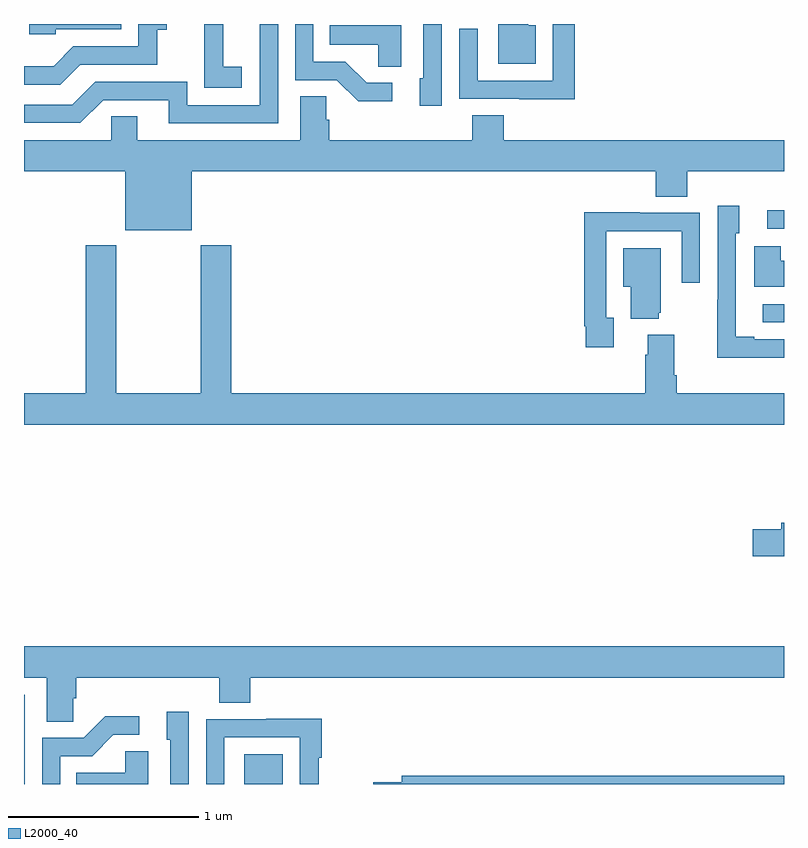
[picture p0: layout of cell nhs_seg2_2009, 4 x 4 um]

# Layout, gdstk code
import gdstk
lib = gdstk.Library(unit=1e-6, precision=1e-09)
def R(c, l, rs):  # rectangles x0, y0, x1, y1
    for r in rs: c.add(gdstk.rectangle(r[:2], r[2:], *l))
def P(c, l, *ps):  # polygons
    for p in ps: c.add(gdstk.Polygon(p, *l))
L2000_40 = (2000, 40)

nhs_seg2_2009 = lib.new_cell('nhs_seg2_2009')
R(nhs_seg2_2009, L2000_40, [(217,589.8,217.005,590.271), (218.159,589.8,218.362,589.957), (220.887,592.23,221,592.326), (220.911,592.722,221,592.82)])
P(nhs_seg2_2009, L2000_40, [(218.938,593.49),(218.803,593.49),(218.692,593.601),(218.523,593.601),(218.523,593.8),(218.427,593.8),(218.427,593.505),(218.646,593.505),(218.759,593.393),(218.938,593.393)],
  [(219.694,593.794),(219.655,593.794),(219.655,593.8),(219.497,593.8),(219.497,593.591),(219.694,593.591)],
  [(219.899,593.8),(219.783,593.8),(219.783,593.502),(219.387,593.502),(219.387,593.776),(219.291,593.776),(219.291,593.406),(219.607,593.406),(219.607,593.405),(219.899,593.405)],
  [(217.297,593.586),(217.701,593.586),(217.701,593.771),(217.75,593.771),(217.75,593.8),(217.602,593.8),(217.602,593.682),(217.26,593.682),(217.156,593.578),(217,593.578),(217,593.481),(217.192,593.481)],
  [(219.198,593.8),(219.102,593.8),(219.102,593.514),(219.083,593.514),(219.083,593.37),(219.198,593.37)],
  [(218.337,593.8),(218.241,593.8),(218.241,593.373),(217.86,593.373),(217.86,593.496),(217.374,593.496),(217.254,593.376),(217,593.376),(217,593.28),(217.296,593.28),(217.416,593.4),(217.763,593.4),(217.763,593.277),(218.337,593.277)],
  [(218.146,593.575),(218.048,593.575),(218.048,593.8),(217.949,593.8),(217.949,593.671),(217.948,593.671),(217.948,593.465),(218.146,593.465)],
  [(217.167,593.772),(217.512,593.772),(217.512,593.8),(217.027,593.8),(217.027,593.745),(217.167,593.745)],
  [(218.986,593.794),(218.608,593.794),(218.608,593.69),(218.865,593.69),(218.865,593.575),(218.986,593.575)],
  [(217.882,593.024),(220.325,593.024),(220.325,592.891),(220.49,592.891),(220.49,593.024),(221,593.024),(221,593.188),(219.524,593.188),(219.524,593.321),(219.359,593.321),(219.359,593.188),(218.606,593.188),(218.606,593.297),(218.592,593.297),(218.592,593.42),(218.453,593.42),(218.453,593.188),(217.597,593.188),(217.597,593.315),(217.458,593.315),(217.458,593.188),(217,593.188),(217,593.024),(217.532,593.024),(217.532,592.715),(217.882,592.715)],
  [(221,592.14),(220.843,592.14),(220.843,592.153),(220.746,592.153),(220.746,592.698),(220.765,592.698),(220.765,592.843),(220.65,592.843),(220.65,592.349),(220.648,592.349),(220.648,592.043),(221,592.043)],
  [(220.105,592.254),(220.065,592.254),(220.065,592.71),(220.461,592.71),(220.461,592.437),(220.557,592.437),(220.557,592.806),(220.241,592.806),(220.241,592.808),(219.949,592.808),(219.949,592.21),(219.957,592.21),(219.957,592.098),(220.105,592.098)],
  [(221,591.856),(220.436,591.856),(220.436,591.952),(220.423,591.952),(220.423,592.165),(220.283,592.165),(220.283,592.058),(220.271,592.058),(220.271,591.856),(218.09,591.856),(218.09,592.636),(217.93,592.636),(217.93,591.856),(217.485,591.856),(217.485,592.636),(217.325,592.636),(217.325,591.856),(217,591.856),(217,591.692),(221,591.692)],
  [(221,592.554),(220.983,592.554),(220.983,592.63),(220.844,592.63),(220.844,592.418),(221,592.418)],
  [(220.34,592.281),(220.351,592.281),(220.351,592.621),(220.154,592.621),(220.154,592.418),(220.193,592.418),(220.193,592.25),(220.34,592.25)],
  [(221,591.176),(220.985,591.176),(220.985,591.14),(220.836,591.14),(220.836,590.998),(221,590.998)],
  [(217.26,590.251),(217.274,590.251),(217.274,590.36),(218.027,590.36),(218.027,590.227),(218.192,590.227),(218.192,590.36),(221,590.36),(221,590.524),(217,590.524),(217,590.36),(217.121,590.36),(217.121,590.128),(217.26,590.128)],
  [(217.866,590.179),(217.751,590.179),(217.751,590.034),(217.77,590.034),(217.77,589.8),(217.866,589.8)],
  [(217.191,589.947),(217.36,589.947),(217.471,590.058),(217.606,590.058),(217.606,590.156),(217.427,590.156),(217.314,590.043),(217.095,590.043),(217.095,589.8),(217.191,589.8)],
  [(218.055,590.046),(218.451,590.046),(218.451,589.8),(218.552,589.8),(218.552,589.939),(218.567,589.939),(218.567,590.144),(218.275,590.144),(218.275,590.142),(217.959,590.142),(217.959,589.8),(218.055,589.8)],
  [(217.654,589.973),(217.533,589.973),(217.533,589.858),(217.276,589.858),(217.276,589.8),(217.654,589.8)],
  [(221,589.844),(218.987,589.844),(218.987,589.808),(218.838,589.808),(218.838,589.8),(221,589.8)])

lib.write_gds('nhs_seg2_2009.gds')
